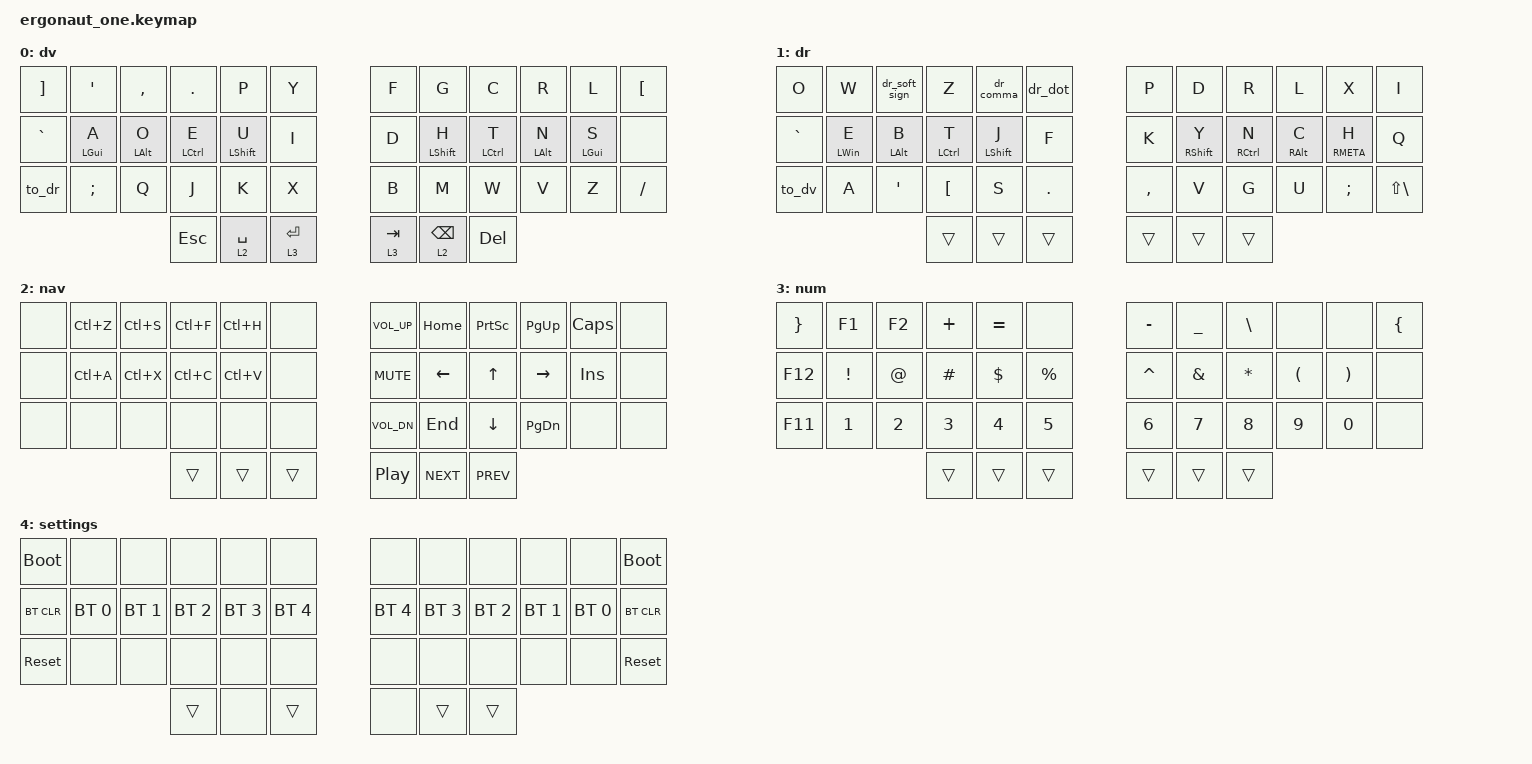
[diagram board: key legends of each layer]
#include <behaviors.dtsi>
#include <dt-bindings/zmk/bt.h>
#include <dt-bindings/zmk/keys.h>

#define DEF 0
#define LWR 1
#define RSE 2
#define ADJ 3

&lt { quick-tap-ms = <100>; };

&mt { quick-tap-ms = <100>; };

&sk { release-after-ms = <2000>; };

/ {
    conditional_layers { compatible = "zmk,conditional-layers"; };

    behaviors {
        hm: homerow_mods {
            compatible = "zmk,behavior-hold-tap";
            label = "HOMEROW_MODS";
            bindings = <&kp>, <&kp>;

            #binding-cells = <2>;
            tapping-term-ms = <220>;
            flavor = "balanced";
            quick-tap-ms = <0>;
        };

        dr_dot: dr_dot {
            compatible = "zmk,behavior-mod-morph";
            label = "DR_DOT";
            bindings = <&kp SLASH>, <&kp EXCL>;

            #binding-cells = <0>;
            mods = <(MOD_LSFT|MOD_RSFT)>;
        };

        dr_comma: dr_comma {
            compatible = "zmk,behavior-mod-morph";
            label = "DR_COMMA";
            bindings = <&kp LS(SLASH)>, <&kp LS(NUMBER_7)>;

            #binding-cells = <0>;
            mods = <(MOD_LSFT|MOD_RSFT)>;
        };

        dr_soft_sign: dr_soft_sign {
            compatible = "zmk,behavior-mod-morph";
            label = "DR_SOFT_SIGN";
            bindings = <&kp M>, <&kp RIGHT_BRACKET>;

            #binding-cells = <0>;
            mods = <(MOD_LSFT|MOD_RSFT)>;
        };
    };

    combos {
        compatible = "zmk,combos";

        settings {
            bindings = <&mo 4>;
            key-positions = <38 39>;
        };
    };

    macros {
        to_dr: togl_dr {
            compatible = "zmk,behavior-macro";
            #binding-cells = <0>;
            bindings = <&kp LC(LS(NUMBER_2)) &to 1>;
            label = "TOGL_DR";
        };

        to_dv: to_dv {
            compatible = "zmk,behavior-macro";
            #binding-cells = <0>;
            bindings = <&kp LC(LS(NUMBER_1)) &to 0>;
            label = "TO_DV";
        };
    };

    keymap {
        compatible = "zmk,keymap";

        dv {
            bindings = <
&kp RBKT   &kp APOS    &kp COMMA   &kp DOT      &kp P         &kp Y        &kp F      &kp G         &kp C        &kp R       &kp L       &kp LBKT
&kp GRAVE  &hm LGUI A  &hm LALT O  &hm LCTRL E  &hm LSHIFT U  &kp I        &kp D      &hm LSHIFT H  &hm LCTRL T  &hm LALT N  &hm LGUI S  &none
&to_dr     &kp SEMI    &kp Q       &kp J        &kp K         &kp X        &kp B      &kp M         &kp W        &kp V       &kp Z       &kp SLASH
                                   &kp ESCAPE   &lt 2 SPACE   &lt 3 ENTER  &lt 3 TAB  &lt 2 BSPC    &kp DEL
            >;
        };

        dr {
            bindings = <
&kp O      &kp W           &dr_soft_sign   &kp Z        &dr_comma         &dr_dot  &kp P      &kp D         &kp R        &kp L       &kp X        &kp I
&kp GRAVE  &hm LEFT_WIN E  &hm LEFT_ALT B  &hm LCTRL T  &hm LEFT_SHIFT J  &kp F    &kp K      &hm RSHIFT Y  &hm RCTRL N  &hm RALT C  &hm RMETA H  &kp Q
&to_dv     &kp A           &kp APOS        &kp LBKT     &kp S             &kp DOT  &kp COMMA  &kp V         &kp G        &kp U       &kp SEMI     &kp LS(BACKSLASH)
                                           &trans       &trans            &trans   &trans     &trans        &trans
            >;
        };

        nav {
            bindings = <
&none  &kp LC(Z)  &kp LC(S)  &kp LC(F)  &kp LC(H)  &none   &kp C_VOL_UP      &kp HOME    &kp PSCRN   &kp PG_UP  &kp CAPS  &none
&none  &kp LC(A)  &kp LC(X)  &kp LC(C)  &kp LC(V)  &none   &kp C_MUTE        &kp LEFT    &kp UP      &kp RIGHT  &kp INS   &none
&none  &none      &none      &none      &none      &none   &kp C_VOL_DN      &kp END     &kp DOWN    &kp PG_DN  &none     &none
                             &trans     &trans     &trans  &kp C_PLAY_PAUSE  &kp C_NEXT  &kp C_PREV
            >;
        };

        num {
            bindings = <
&kp RIGHT_BRACE  &kp F1    &kp F2  &kp PLUS  &kp EQUAL  &none      &kp MINUS  &kp UNDER  &kp BACKSLASH  &none     &none     &kp LEFT_BRACE
&kp F12          &kp EXCL  &kp AT  &kp HASH  &kp DLLR   &kp PRCNT  &kp CARET  &kp AMPS   &kp STAR       &kp LPAR  &kp RPAR  &none
&kp F11          &kp N1    &kp N2  &kp N3    &kp N4     &kp N5     &kp N6     &kp N7     &kp N8         &kp N9    &kp N0    &none
                                   &trans    &trans     &trans     &trans     &trans     &trans
            >;
        };

        settings {
            bindings = <
&bootloader  &none         &none         &none         &none         &none         &none         &none         &none         &none         &none         &bootloader
&bt BT_CLR   &bt BT_SEL 0  &bt BT_SEL 1  &bt BT_SEL 2  &bt BT_SEL 3  &bt BT_SEL 4  &bt BT_SEL 4  &bt BT_SEL 3  &bt BT_SEL 2  &bt BT_SEL 1  &bt BT_SEL 0  &bt BT_CLR
&sys_reset   &none         &none         &none         &none         &none         &none         &none         &none         &none         &none         &sys_reset
                                         &trans        &none         &trans        &none         &trans        &trans
            >;
        };
    };
};
